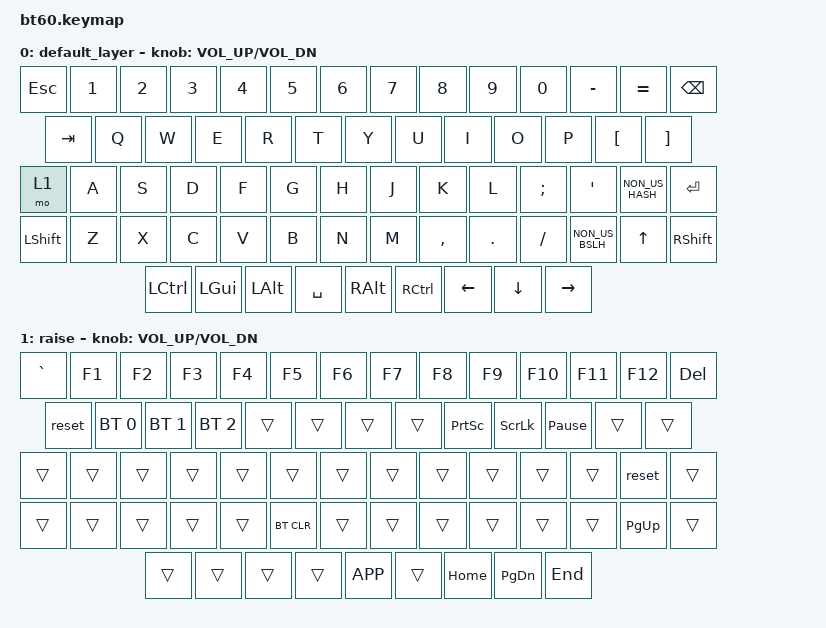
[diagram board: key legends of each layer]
#include <behaviors.dtsi>
#include <dt-bindings/zmk/keys.h>
#include <dt-bindings/zmk/bt.h>

/ {
	keymap {
		compatible = "zmk,keymap";

		default_layer {
				// ------------------------------------------------------------------------------------------
				// | ESC |  1  |  2  |  3  |  4  |  5  |  6  |  7  |  8  |  9  |  0  |  -  |  =  |   BKSP   |
				// | TAB  |  Q  |  W  |  E  |  R  |  T  |  Y  |  U  |  I  |  O  |  P  |  [  |  ]  |         |
				// | MO(1)  |  A  |  S  |  D  |  F  |  G  |  H  |  J  |  K  |  L  |  ;  |  '  |  #   | ENTER |
				// |  SHIFT | Z  |  X  |  C  |  V  |  B  |  N  |  M  |  ,  |  .  | /   |  |   | UP | SHFT  |
				// |  CTL  |  WIN  |  ALT  |            SPACE              | ALTGR | CTRL | LEFT | DOWN | RIGHT |
				// ------------------------------------------------------------------------------------------
			bindings = <
				&kp ESC &kp N1 &kp N2 &kp N3 &kp N4 &kp N5 &kp N6 &kp N7 &kp  N8   &kp  N9 &kp  N0  &kp MINUS &kp EQUAL &kp BSPC
				&kp TAB  &kp Q  &kp W  &kp E  &kp R  &kp T  &kp Y  &kp U  &kp  I    &kp  O  &kp  P   &kp LBKT &kp RBKT
				&mo 1  &kp A  &kp S  &kp D  &kp F  &kp G  &kp H  &kp J  &kp  K    &kp  L  &kp SEMI &kp SQT  &kp NON_US_HASH  &kp RET
				&kp LSHFT  &kp Z  &kp X  &kp C  &kp V  &kp B  &kp N  &kp M  &kp COMMA &kp DOT &kp FSLH &kp NON_US_BSLH  &kp UP &kp RSHFT
				&kp LCTRL &kp LGUI &kp LALT            &kp SPACE                          &kp RALT  &kp RCTRL &kp LEFT &kp DOWN &kp RIGHT
			>;
			sensor-bindings = <&inc_dec_kp C_VOL_UP C_VOL_DN>;
		};
		raise {
			bindings = <
				&kp GRAVE &kp F1 &kp F2 &kp F3 &kp F4 &kp F5 &kp F6 &kp F7 &kp  F8   &kp  F9 &kp  F10  &kp F11 &kp F12   &kp DEL
				&reset &bt BT_SEL 0 &bt BT_SEL 1 &bt BT_SEL 2 &trans &trans &trans &trans &kp PSCRN &kp SLCK &kp PAUSE_BREAK &trans &trans
				&trans    &trans &trans &trans &trans &trans &trans &trans &trans &trans &trans  &trans  &reset &trans
				&trans &trans &trans &trans &trans &bt BT_CLR &trans &trans &trans &trans &trans &trans &kp PG_UP  &trans
				&trans &trans  &trans              &trans                           &kp K_APP &trans &kp HOME  &kp PG_DN &kp END
			>;
			sensor-bindings = <&inc_dec_kp C_VOL_UP C_VOL_DN>;
		};
	};
};
